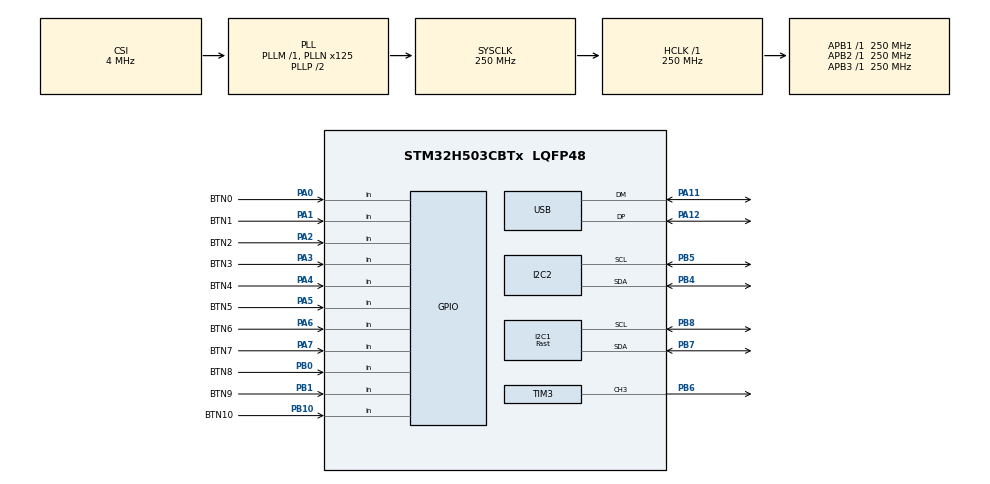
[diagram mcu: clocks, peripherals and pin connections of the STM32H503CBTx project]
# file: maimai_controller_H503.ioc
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BOOTPATH.BootPathName=LEGACY
BOOTPATH.UserSelectedBootPath=LEGACY
GPDMA1.DESTDATAWIDTH_GPDMACH0=DMA_DEST_DATAWIDTH_HALFWORD
GPDMA1.DIRECTION_GPDMACH0=DMA_MEMORY_TO_PERIPH
GPDMA1.IPHANDLE_GPDMACH0-SIMPLEREQUEST_GPDMACH0=__NULL
GPDMA1.PRIORITY_GPDMACH0=DMA_LOW_PRIORITY_HIGH_WEIGHT
GPDMA1.REQUEST_GPDMACH0=GPDMA1_REQUEST_TIM3_CH3
GPDMA1.SRCINC_GPDMACH0=DMA_SINC_INCREMENTED
I2C1.I2C_Speed_Mode=I2C_Fast
I2C1.Timing=0x10C043E5
I2C2.Timing=0x60808CD3
Mcu.Family=STM32H5
Mcu.Name=STM32H503CBTx
Mcu.Package=LQFP48
NVIC.GPDMA1_Channel0_IRQn=true\:0\:0\:false\:false\:true\:false\:true\:true
NVIC.I2C1_ER_IRQn=true\:0\:0\:false\:false\:true\:true\:true\:true
NVIC.I2C1_EV_IRQn=true\:0\:0\:false\:false\:true\:true\:true\:true
NVIC.PriorityGroup=NVIC_PRIORITYGROUP_4
NVIC.USB_DRD_FS_IRQn=true\:0\:0\:false\:false\:true\:true\:true\:true
NimaLTD.I-CUBE-WS28XX.3.0.1.DriverJjWS28XX=true
NimaLTD.I-CUBE-WS28XX.3.0.1.WS28XX_PIXEL_MAX=32
PA0.GPIO_Label=BTN0
PA0.GPIO_Mode=GPIO_MODE_INPUT
PA0.GPIO_PuPd=GPIO_PULLUP
PA0.Signal=GPIO_Input
PA1.GPIO_Label=BTN1
PA1.GPIO_Mode=GPIO_MODE_INPUT
PA1.GPIO_PuPd=GPIO_PULLUP
PA1.Signal=GPIO_Input
PA11.Mode=Device
PA11.Signal=USB_DM
PA12.Mode=Device
PA12.Signal=USB_DP
PA13(JTMS/SWDIO).Mode=Serial_Wire
PA13(JTMS/SWDIO).Signal=DEBUG_JTMS-SWDIO
PA14(JTCK/SWCLK).Mode=Serial_Wire
PA14(JTCK/SWCLK).Signal=DEBUG_JTCK-SWCLK
PA2.GPIO_Label=BTN2
PA2.GPIO_Mode=GPIO_MODE_INPUT
PA2.GPIO_PuPd=GPIO_PULLUP
PA2.Signal=GPIO_Input
PA3.GPIO_Label=BTN3
PA3.GPIO_Mode=GPIO_MODE_INPUT
PA3.GPIO_PuPd=GPIO_PULLUP
PA3.Signal=GPIO_Input
PA4.GPIO_Label=BTN4
PA4.GPIO_Mode=GPIO_MODE_INPUT
PA4.GPIO_PuPd=GPIO_PULLUP
PA4.Signal=GPIO_Input
PA5.GPIO_Label=BTN5
PA5.GPIO_Mode=GPIO_MODE_INPUT
PA5.GPIO_PuPd=GPIO_PULLUP
PA5.Signal=GPIO_Input
PA6.GPIO_Label=BTN6
PA6.GPIO_Mode=GPIO_MODE_INPUT
PA6.GPIO_PuPd=GPIO_PULLUP
PA6.Signal=GPIO_Input
PA7.GPIO_Label=BTN7
PA7.GPIO_Mode=GPIO_MODE_INPUT
PA7.GPIO_PuPd=GPIO_PULLUP
PA7.Signal=GPIO_Input
PB0.GPIO_Label=BTN8
PB0.GPIO_Mode=GPIO_MODE_INPUT
PB0.GPIO_PuPd=GPIO_PULLUP
PB0.Signal=GPIO_Input
PB1.GPIO_Label=BTN9
PB1.GPIO_Mode=GPIO_MODE_INPUT
PB1.GPIO_PuPd=GPIO_PULLUP
PB1.Signal=GPIO_Input
PB10.GPIO_Label=BTN10
PB10.GPIO_Mode=GPIO_MODE_INPUT
PB10.GPIO_PuPd=GPIO_PULLUP
PB10.Signal=GPIO_Input
PB4(NJTRST).Mode=I2C
PB4(NJTRST).Signal=I2C2_SDA
PB5.Mode=I2C
PB5.Signal=I2C2_SCL
PB6.Signal=S_TIM3_CH3
PB7.Mode=I2C
PB7.Signal=I2C1_SDA
PB8.Mode=I2C
PB8.Signal=I2C1_SCL
ProjectManager.HeapSize=0x200
ProjectManager.StackSize=0x400
ProjectManager.TargetToolchain=STM32CubeIDE
RCC.ADCFreq_Value=250000000
RCC.AHBFreq_Value=250000000
RCC.APB1Freq_Value=250000000
RCC.APB1TimFreq_Value=250000000
RCC.APB2Freq_Value=250000000
RCC.APB2TimFreq_Value=250000000
RCC.APB3Freq_Value=250000000
RCC.CSI_VALUE=4000000
RCC.CortexFreq_Value=250000000
RCC.EPOD_VALUE=4000000
RCC.HCLKFreq_Value=250000000
RCC.HSE_VALUE=25000000
RCC.HSI48_VALUE=48000000
RCC.HSI_VALUE=64000000
RCC.LSE_VALUE=32768
RCC.LSIRC_VALUE=32000
RCC.PLL2FRACN=0
RCC.PLLFRACN=0
RCC.PLLN=125
RCC.SYSCLKFreq_VALUE=250000000
RCC.SYSCLKSource=RCC_SYSCLKSOURCE_PLLCLK
RCC.USBFreq_Value=48000000
RCC.VCOOutputFreq_Value=500000000
SH.S_TIM3_CH3.0=TIM3_CH3,PWM Generation3 CH3
TIM3.Channel-PWM\ Generation3\ CH3=TIM_CHANNEL_3
USB.VirtualMode=Device_Only
VP_BOOTPATH_VS_BOOTPATH.Mode=BP_Activate
VP_CORTEX_M33_NS_VS_Hclk.Mode=Hclk_Mode
VP_GPDMA1_VS_GPDMACH0.Mode=SIMPLEREQUEST_GPDMACH0
VP_MEMORYMAP_VS_MEMORYMAP.Mode=CurAppReg
VP_NimaLTD.I-CUBE-WS28XX_VS_DriverJjWS28XX_1.0.0_3.0.1.Mode=DriverJjWS28XX
VP_PWR_VS_LPOM.Mode=PowerOptimisation
VP_PWR_VS_SECSignals.Mode=Security/Privilege
VP_TIM3_VS_ClockSourceINT.Mode=Internal
board=custom

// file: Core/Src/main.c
/* USER CODE BEGIN Header */
/**
  ******************************************************************************
  * @file           : main.c
  * @brief          : Main program body
  ******************************************************************************
  * @attention
  *
  * Copyright (c) 2026 STMicroelectronics.
  * All rights reserved.
  *
  * This software is licensed under terms that can be found in the LICENSE file
  * in the root directory of this software component.
  * If no LICENSE file comes with this software, it is provided AS-IS.
  *
  ******************************************************************************
  */
/* USER CODE END Header */
#include "main.h"
#include "gpdma.h"
#include "i2c.h"
#include "tim.h"
#include "usb.h"
#include "gpio.h"

/* USER CODE BEGIN Includes */
#include "tusb.h"
#include "keyboard_app.h"
#include "magic_config.h"
#include "mai2led_app.h"
#include "touch.h"
#include "ws28xx.h"
/* USER CODE END Includes */

void SystemClock_Config(void);

/* USER CODE BEGIN 0 */
WS28XX_HandleTypeDef hws;

bool WS28XX_SetPixels_RGB(WS28XX_HandleTypeDef *hLed,
        uint16_t StartPixel,
        uint16_t EndPixel,
        uint8_t Red,
        uint8_t Green,
        uint8_t Blue)
{
	bool answer = true;

	do
	{
		if (hLed == NULL)
		{
			answer = false;
			break;
		}

		if (StartPixel > EndPixel)
		{
			answer = false;
			break;
		}

		if (EndPixel >= hLed->MaxPixel)
		{
			answer = false;
			break;
		}

		for (uint16_t pixel = StartPixel; pixel <= EndPixel; pixel++)
		{
			if (WS28XX_SetPixel_RGB(hLed, pixel, Red, Green, Blue) == false)
			{
				answer = false;
				break;
			}
		}
	}
	while (0);

	return answer;
}
/* USER CODE END 0 */

int main(void)
{

  /* MCU Configuration--------------------------------------------------------*/

  /* Reset of all peripherals, Initializes the Flash interface and the Systick. */
  HAL_Init();

  /* Configure the system clock */
  SystemClock_Config();

  /* Initialize all configured peripherals */
  MX_GPIO_Init();
  MX_GPDMA1_Init();
  MX_USB_PCD_Init();
  MX_I2C1_Init();
  MX_I2C2_Init();
  MX_TIM3_Init();
  /* USER CODE BEGIN 2 */
    WS28XX_Init(&hws, &htim3, 250, TIM_CHANNEL_3, MAI2LED_APP_MAX_LED_TOTAL);

    if (hws.MaxPixel > 0U)
    {
        WS28XX_SetPixels_RGB(&hws, 0, hws.MaxPixel - 1U, 0, 0, 0);
        WS28XX_Update(&hws);
    }

	tusb_init();
    touch_init();
    magic_config_init();
    keyboard_app_init(mai2led_app_restore_idle_lights);
	mai2led_app_init(&(mai2led_app_config_t)
    {
        .led = &hws,
        .led_per_bit = MAI2LED_APP_DEFAULT_LED_PER_BIT,
        .button_read = keyboard_app_button_read_mask8
    });

  /* USER CODE END 2 */

  /* Infinite loop */
  /* USER CODE BEGIN WHILE */
	while (1)
	{
		tud_task();
        touch_task();
		keyboard_app_poll();
		mai2led_app_task();
        magic_config_task();
    /* USER CODE END WHILE */

	}
}

void SystemClock_Config(void)
{
  RCC_OscInitTypeDef RCC_OscInitStruct = {0};
  RCC_ClkInitTypeDef RCC_ClkInitStruct = {0};

  /** Configure the main internal regulator output voltage
  */
  __HAL_PWR_VOLTAGESCALING_CONFIG(PWR_REGULATOR_VOLTAGE_SCALE0);

  while(!__HAL_PWR_GET_FLAG(PWR_FLAG_VOSRDY)) {}

  /** Initializes the RCC Oscillators according to the specified parameters
  * in the RCC_OscInitTypeDef structure.
  */
  RCC_OscInitStruct.OscillatorType = RCC_OSCILLATORTYPE_HSI48|RCC_OSCILLATORTYPE_CSI;
  RCC_OscInitStruct.HSI48State = RCC_HSI48_ON;
  RCC_OscInitStruct.CSIState = RCC_CSI_ON;
  RCC_OscInitStruct.CSICalibrationValue = RCC_CSICALIBRATION_DEFAULT;
  RCC_OscInitStruct.PLL.PLLState = RCC_PLL_ON;
  RCC_OscInitStruct.PLL.PLLSource = RCC_PLL1_SOURCE_CSI;
  RCC_OscInitStruct.PLL.PLLM = 1;
  RCC_OscInitStruct.PLL.PLLN = 125;
  RCC_OscInitStruct.PLL.PLLP = 2;
  RCC_OscInitStruct.PLL.PLLQ = 2;
  RCC_OscInitStruct.PLL.PLLR = 2;
  RCC_OscInitStruct.PLL.PLLRGE = RCC_PLL1_VCIRANGE_2;
  RCC_OscInitStruct.PLL.PLLVCOSEL = RCC_PLL1_VCORANGE_WIDE;
  RCC_OscInitStruct.PLL.PLLFRACN = 0;
  if (HAL_RCC_OscConfig(&RCC_OscInitStruct) != HAL_OK)
  {
    Error_Handler();
  }

  /** Initializes the CPU, AHB and APB buses clocks
  */
  RCC_ClkInitStruct.ClockType = RCC_CLOCKTYPE_HCLK|RCC_CLOCKTYPE_SYSCLK
                              |RCC_CLOCKTYPE_PCLK1|RCC_CLOCKTYPE_PCLK2
                              |RCC_CLOCKTYPE_PCLK3;
  RCC_ClkInitStruct.SYSCLKSource = RCC_SYSCLKSOURCE_PLLCLK;
  RCC_ClkInitStruct.AHBCLKDivider = RCC_SYSCLK_DIV1;
  RCC_ClkInitStruct.APB1CLKDivider = RCC_HCLK_DIV1;
  RCC_ClkInitStruct.APB2CLKDivider = RCC_HCLK_DIV1;
  RCC_ClkInitStruct.APB3CLKDivider = RCC_HCLK_DIV1;

  if (HAL_RCC_ClockConfig(&RCC_ClkInitStruct, FLASH_LATENCY_5) != HAL_OK)
  {
    Error_Handler();
  }

  /** Configure the programming delay
  */
  __HAL_FLASH_SET_PROGRAM_DELAY(FLASH_PROGRAMMING_DELAY_2);
}

/* USER CODE BEGIN 4 */
void HAL_TIM_PWM_PulseFinishedCallback(TIM_HandleTypeDef *htim)
{
    if(htim->Instance == TIM3)
    {
        HAL_TIM_PWM_Stop_DMA(htim, TIM_CHANNEL_3);
    }
}

/* USER CODE END 4 */

void Error_Handler(void)
{
  __disable_irq();
  while (1)
  {
  }
}
